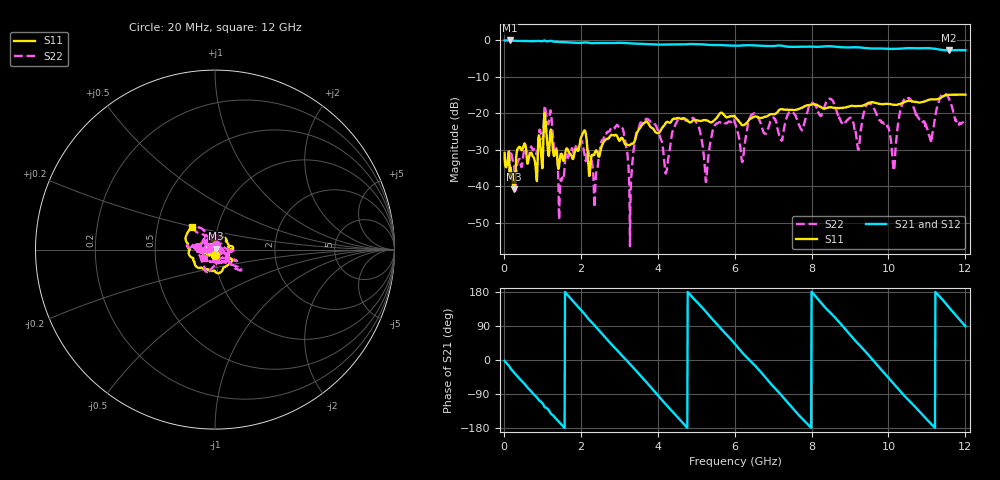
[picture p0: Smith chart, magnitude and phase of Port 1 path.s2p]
! RsaToolbox (C) 2015 Rohde & Schwarz America
! Number of points: 1199
! Number of ports: 2
! Balanced ports?: No
# Hz S RI R 50
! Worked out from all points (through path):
!   1199 points, 20 MHz to 12 GHz, reference 50 ohm
!   highest |S21| = -0.01 dB at 150 MHz (marker M1); lowest = -2.7 dB at 11.57 GHz (marker M2)
!   group delay of S21, straight-line fit = 312 ps
!   lowest |S11| = -40.9 dB at 270 MHz (marker M3), VSWR 1.02, Z = 50.7 + j0.609 ohm
!   |S11| at or under -10 dB: start of sweep to end of sweep
!   |S22| runs from -56.5 to -14.6 dB; largest |S21 - S12| = 0
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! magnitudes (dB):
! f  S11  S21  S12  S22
! 20 MHz  -30.9  0.0  0.0  -31.9
! 150 MHz  -36.4  0.0  0.0  -37.7
! 270 MHz  -40.9  -0.1  -0.1  -34.8
! 1.09 GHz  -23.0  -0.2  -0.2  -19.5
! 1.47 GHz  -31.7  -0.4  -0.4  -39.0
! 2.02 GHz  -26.3  -0.7  -0.7  -27.5
! 2.37 GHz  -30.7  -0.7  -0.7  -42.3
! 3.05 GHz  -26.8  -0.7  -0.7  -23.7
! 3.29 GHz  -28.6  -0.8  -0.8  -45.9
! 3.51 GHz  -24.4  -0.9  -0.9  -24.0
! 4.02 GHz  -25.5  -1.1  -1.1  -25.0
! 4.22 GHz  -22.5  -1.1  -1.1  -36.3
! 4.93 GHz  -21.9  -1.0  -1.0  -21.3
! 5.26 GHz  -21.9  -1.2  -1.2  -38.9
! 6.01 GHz  -20.9  -1.5  -1.5  -22.8
! 6.2 GHz  -23.3  -1.4  -1.4  -33.4
! 6.47 GHz  -21.1  -1.3  -1.3  -20.2
! 8.01 GHz  -17.5  -1.7  -1.7  -17.2
! 10.01 GHz  -17.4  -2.3  -2.3  -24.3
! 10.14 GHz  -17.7  -2.3  -2.3  -35.7
! 11.57 GHz  -14.9  -2.7  -2.7  -15.9
! 12 GHz  -14.9  -2.7  -2.7  -22.4
